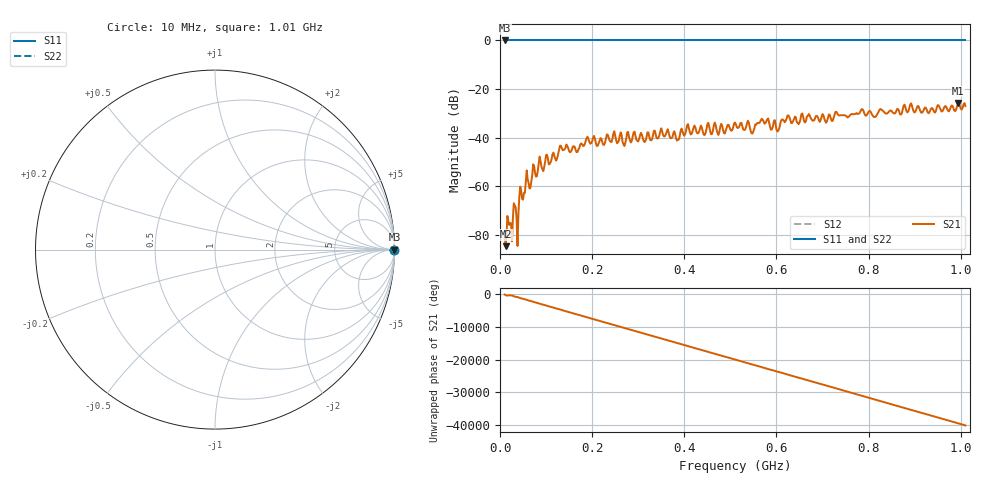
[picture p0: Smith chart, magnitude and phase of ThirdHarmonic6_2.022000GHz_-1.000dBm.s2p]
! 8/17/2025 12:16:24 AM
! C:\ANRITSUVNA\TEMP\TEMP.S2P
! CHANNEL.1
! TR.MEASUREMENT
! RAW.DATA
! RF.CORRECTION.OFF
! AVERAGING.OFF
! IF.BANDWIDTH: 5KHZ
! SWEEPTYPE:  FREQ.SWEEP(Linear)
! Reference Plane Port Info
! PORT:  PORT1  PORT2
! DISTANCE:  0  m  0  m
! TIME:  0  s  0  s
! PHASE.OFFSET:  0  deg.  0  deg.
! LOSS:  0  dB  0  dB
! REF.LOSS:  0  dB  0  dB
! REF.FREQ:  0  Hz  0  Hz
! Power Info
! POWER:  -20  dBm  -20  dBm
! EFF.POWER:  -20  dBm  -20  dBm
! SOURCE.ATTEN:  0  dB  0  dB
! TEST.ATTEN:  0  dB  0  dB
# GHZ S RI R 50.0
! FREQ.GHZ  S11RE  S11IM  S21RE  S21IM  S12RE  S12IM  S22RE  S22IM
!; PortSelection: Port_12
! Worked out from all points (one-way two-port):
!   501 points, 10 MHz to 1.01 GHz, reference 50 ohm
!   highest |S21| = -25.73 dB at 994 MHz (marker M1); lowest = -84.7 dB at 12 MHz (marker M2)
!   lowest |S11| = 0.0 dB at 10 MHz (marker M3)
!   |S11| at or under -10 dB: nowhere
!   |S22| runs from 0.0 to 0.0 dB; largest |S21 - S12| = 1
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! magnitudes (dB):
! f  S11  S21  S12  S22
! 10 MHz  0.0  -78.5  0.0  0.0
! 12 MHz  0.0  -84.7  0.0  0.0
! 24 MHz  0.0  -75.3  0.0  0.0
! 32 MHz  0.0  -67.9  0.0  0.0
! 38 MHz  0.0  -84.6  0.0  0.0
! 44 MHz  0.0  -60.1  0.0  0.0
! 56 MHz  0.0  -57.9  0.0  0.0
! 66 MHz  0.0  -60.6  0.0  0.0
! 86 MHz  0.0  -47.8  0.0  0.0
! 122 MHz  0.0  -49.5  0.0  0.0
! 132 MHz  0.0  -43.3  0.0  0.0
! 178 MHz  0.0  -42.6  0.0  0.0
! 344 MHz  0.0  -40.0  0.0  0.0
! 510 MHz  0.0  -33.8  0.0  0.0
! 548 MHz  0.0  -38.3  0.0  0.0
! 568 MHz  0.0  -32.2  0.0  0.0
! 604 MHz  0.0  -37.1  0.0  0.0
! 624 MHz  0.0  -30.9  0.0  0.0
! 678 MHz  0.0  -33.0  0.0  0.0
! 844 MHz  0.0  -29.3  0.0  0.0
! 994 MHz  0.0  -25.7  0.0  0.0
! 1.01 GHz  0.0  -27.0  0.0  0.0
